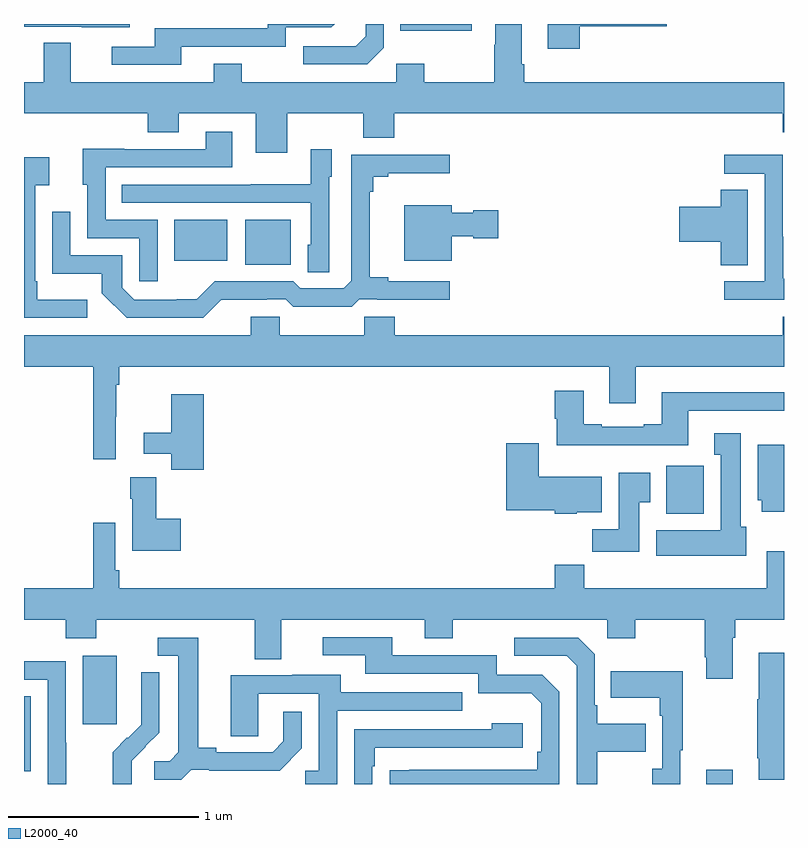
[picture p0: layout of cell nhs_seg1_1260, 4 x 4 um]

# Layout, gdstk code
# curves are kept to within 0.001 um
import gdstk
lib = gdstk.Library(unit=1e-6, precision=1e-09)
def R(c, l, rs):  # rectangles x0, y0, x1, y1
    for r in rs: c.add(gdstk.rectangle(r[:2], r[2:], *l))
def P(c, l, *ps):  # polygons
    for p in ps: c.add(gdstk.Polygon(p, *l))
L2000_40 = (2000, 40)

nhs_seg1_1260 = lib.new_cell('nhs_seg1_1260')
R(nhs_seg1_1260, L2000_40, [(182.591,552.199,182.731,552.274), (179,552.265,179.035,552.662), (179.309,552.513,179.488,552.874), (182.381,553.622,182.577,553.873), (180.164,554.933,180.403,555.169), (179.792,554.954,180.07,555.169), (180.979,556.163,181.357,556.199)])
P(nhs_seg1_1260, L2000_40, [(180.385,555.728),(180.785,555.728),(180.785,555.6),(180.949,555.6),(180.949,555.728),(182.993,555.728),(182.993,555.629),(183,555.629),(183,555.892),(181.634,555.892),(181.634,555.988),(181.621,555.988),(181.621,556.199),(181.481,556.199),(181.481,556.091),(181.474,556.091),(181.474,555.892),(181.107,555.892),(181.107,555.991),(180.96,555.991),(180.96,555.892),(180.147,555.892),(180.147,555.991),(179.999,555.991),(179.999,555.892),(179.245,555.892),(179.245,556.1),(179.105,556.1),(179.105,555.892),(179,555.892),(179,555.728),(179.651,555.728),(179.651,555.629),(179.815,555.629),(179.815,555.728),(180.221,555.728),(180.221,555.522),(180.385,555.522)],
  [(179.557,556.199),(179,556.199),(179,556.185),(179.303,556.185),(179.303,556.181),(179.557,556.181)],
  [(179.827,556.08),(180.378,556.08),(180.378,556.182),(180.618,556.182),(180.635,556.199),(180.282,556.199),(180.282,556.176),(179.687,556.176),(179.687,556.08),(179.463,556.08),(179.463,555.984),(179.827,555.984)],
  [(180.894,556.074),(180.894,556.199),(180.798,556.199),(180.798,556.134),(180.747,556.083),(180.471,556.083),(180.471,555.987),(180.807,555.987)],
  [(181.925,556.186),(182.383,556.186),(182.383,556.199),(181.757,556.199),(181.757,556.068),(181.925,556.068)],
  [(179.703,555.168),(179.43,555.168),(179.43,555.444),(180.097,555.444),(180.097,555.631),(179.957,555.631),(179.957,555.54),(179.527,555.54),(179.527,555.542),(179.309,555.542),(179.309,555.354),(179.334,555.354),(179.334,555.072),(179.607,555.072),(179.607,554.844),(179.703,554.844)],
  [(180.606,555.396),(180.619,555.396),(180.619,555.541),(180.51,555.541),(180.51,555.355),(180.193,555.355),(180.193,555.354),(179.515,555.354),(179.515,555.258),(180.51,555.258),(180.51,555.036),(180.494,555.036),(180.494,554.893),(180.606,554.893)],
  [(180.038,554.747),(180.278,554.747),(180.278,554.751),(180.378,554.751),(180.418,554.712),(180.725,554.712),(180.765,554.751),(180.859,554.751),(180.859,554.747),(181.24,554.747),(181.24,554.844),(180.916,554.844),(180.916,554.867),(180.821,554.867),(180.821,555.317),(180.839,555.317),(180.839,555.394),(180.916,555.394),(180.916,555.413),(181.24,555.413),(181.24,555.51),(180.723,555.51),(180.723,554.847),(180.684,554.808),(180.453,554.808),(180.417,554.844),(180.003,554.844),(179.909,554.75),(179.804,554.75),(179.804,554.748),(179.58,554.748),(179.517,554.811),(179.517,554.982),(179.244,554.982),(179.244,555.211),(179.148,555.211),(179.148,554.885),(179.41,554.885),(179.41,554.783),(179.54,554.652),(179.943,554.652)],
  [(183,554.857),(182.997,554.857),(182.997,555.08),(182.994,555.08),(182.994,555.51),(182.685,555.51),(182.685,555.411),(182.898,555.411),(182.898,554.844),(182.685,554.844),(182.685,554.748),(183,554.748)],
  [(179.332,554.749),(179.071,554.749),(179.071,554.845),(179.058,554.845),(179.058,555.35),(179.134,555.35),(179.134,555.499),(179,555.499),(179,554.652),(179.332,554.652)],
  [(182.809,555.326),(182.666,555.326),(182.666,555.236),(182.448,555.236),(182.448,555.053),(182.666,555.053),(182.666,554.929),(182.809,554.929)],
  [(181.252,555.083),(181.365,555.083),(181.365,555.071),(181.495,555.071),(181.495,555.218),(181.365,555.218),(181.365,555.205),(181.252,555.205),(181.252,555.244),(181.001,555.244),(181.001,554.954),(181.252,554.954)],
  [(179.482,554.131),(179.486,554.131),(179.486,554.3),(179.501,554.3),(179.501,554.396),(182.081,554.396),(182.081,554.202),(182.221,554.202),(182.221,554.396),(183,554.396),(183,554.659),(182.993,554.659),(182.993,554.56),(180.95,554.56),(180.95,554.658),(180.79,554.658),(180.79,554.56),(180.345,554.56),(180.345,554.658),(180.194,554.658),(180.194,554.56),(179,554.56),(179,554.396),(179.365,554.396),(179.365,553.908),(179.482,553.908)],
  [(182.497,554.163),(183,554.163),(183,554.26),(182.357,554.26),(182.357,554.092),(182.261,554.092),(182.261,554.079),(182.041,554.079),(182.041,554.092),(181.945,554.092),(181.945,554.269),(181.793,554.269),(181.793,554.121),(181.805,554.121),(181.805,553.982),(182.497,553.982)],
  [(179.945,554.251),(179.774,554.251),(179.774,554.047),(179.631,554.047),(179.631,553.938),(179.774,553.938),(179.774,553.854),(179.945,553.854)],
  [(182.8,553.554),(182.773,553.554),(182.773,554.044),(182.633,554.044),(182.633,553.931),(182.666,553.931),(182.666,553.534),(182.327,553.534),(182.327,553.4),(182.8,553.4)],
  [(181.908,553.628),(182.041,553.628),(182.041,553.816),(181.708,553.816),(181.708,553.993),(181.538,553.993),(181.538,553.64),(181.794,553.64),(181.794,553.622),(181.908,553.622)],
  [(183,553.984),(182.861,553.984),(182.861,553.692),(182.882,553.692),(182.882,553.632),(183,553.632)],
  [(182.239,553.681),(182.296,553.681),(182.296,553.837),(182.129,553.837),(182.129,553.54),(181.99,553.54),(181.99,553.422),(182.239,553.422)],
  [(179.824,553.594),(179.696,553.594),(179.696,553.813),(179.558,553.813),(179.558,553.7),(179.57,553.7),(179.57,553.427),(179.824,553.427)],
  [(182.731,552.968),(182.744,552.968),(182.744,553.064),(183,553.064),(183,553.423),(182.909,553.423),(182.909,553.228),(181.949,553.228),(181.949,553.352),(181.793,553.352),(181.793,553.228),(179.501,553.228),(179.501,553.324),(179.481,553.324),(179.481,553.573),(179.365,553.573),(179.365,553.228),(179,553.228),(179,553.064),(179.219,553.064),(179.219,552.965),(179.379,552.965),(179.379,553.064),(180.215,553.064),(180.215,552.856),(180.355,552.856),(180.355,553.064),(181.109,553.064),(181.109,552.965),(181.257,552.965),(181.257,553.064),(182.07,553.064),(182.07,552.965),(182.217,552.965),(182.217,553.064),(182.584,553.064),(182.584,552.865),(182.591,552.865),(182.591,552.753),(182.731,552.753)],
  [(181.818,552.684),(181.728,552.774),(181.488,552.774),(181.488,552.876),(180.937,552.876),(180.937,552.972),(180.573,552.972),(180.573,552.876),(180.797,552.876),(180.797,552.78),(181.392,552.78),(181.392,552.677),(181.669,552.677),(181.722,552.624),(181.722,552.37),(181.702,552.37),(181.702,552.273),(180.925,552.272),(180.925,552.199),(181.818,552.199)],
  [(179.88,552.273),(179.974,552.273),(179.974,552.27),(180.346,552.27),(180.462,552.386),(180.462,552.58),(180.365,552.58),(180.365,552.423),(180.308,552.366),(180.013,552.366),(180.013,552.389),(179.917,552.389),(179.917,552.969),(179.703,552.969),(179.703,552.873),(179.813,552.873),(179.813,552.365),(179.766,552.318),(179.685,552.318),(179.685,552.221),(179.828,552.221)],
  [(182.017,552.37),(182.273,552.37),(182.273,552.517),(182.017,552.517),(182.017,552.613),(182.004,552.613),(182.004,552.882),(181.917,552.969),(181.581,552.969),(181.581,552.873),(181.857,552.873),(181.908,552.822),(181.908,552.199),(182.017,552.199)],
  [(183,552.889),(182.867,552.889),(182.867,552.645),(182.86,552.645),(182.86,552.334),(182.867,552.334),(182.867,552.222),(183,552.222)],
  [(179.223,552.416),(179.22,552.416),(179.22,552.846),(179,552.846),(179,552.747),(179.124,552.747),(179.124,552.199),(179.223,552.199)],
  [(182.455,552.377),(182.467,552.377),(182.467,552.793),(182.089,552.793),(182.089,552.653),(182.346,552.653),(182.346,552.557),(182.358,552.557),(182.358,552.278),(182.307,552.278),(182.307,552.199),(182.455,552.199)],
  [(179.568,552.225),(179.566,552.225),(179.566,552.322),(179.712,552.47),(179.712,552.788),(179.616,552.788),(179.616,552.634),(179.618,552.634),(179.618,552.512),(179.547,552.441),(179.544,552.444),(179.467,552.367),(179.467,552.199),(179.568,552.199)],
  [(180.648,552.585),(181.307,552.585),(181.307,552.681),(180.667,552.681),(180.667,552.775),(180.413,552.775),(180.413,552.771),(180.089,552.771),(180.089,552.451),(180.234,552.451),(180.234,552.675),(180.552,552.675),(180.552,552.27),(180.48,552.27),(180.48,552.199),(180.648,552.199)],
  [(180.834,552.293),(180.847,552.293),(180.847,552.39),(181.624,552.39),(181.624,552.52),(181.463,552.52),(181.463,552.486),(180.738,552.486),(180.738,552.199),(180.834,552.199)])

lib.write_gds('nhs_seg1_1260.gds')
